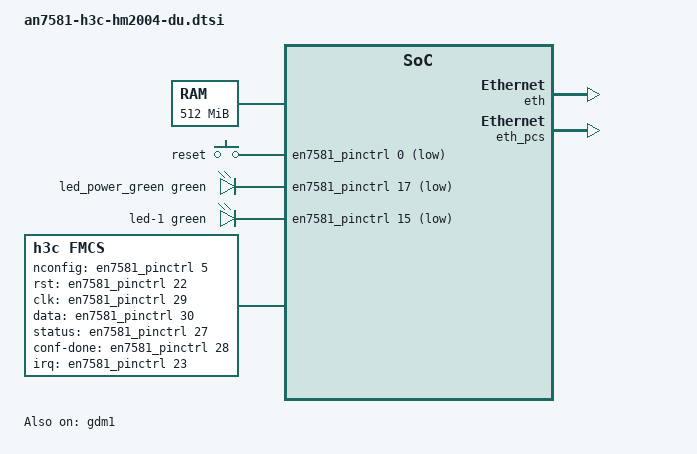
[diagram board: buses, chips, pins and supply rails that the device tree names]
// SPDX-License-Identifier: GPL-2.0-only OR MIT
/*
 * H3C HM2004-DU board support (AN7581 / EN7581).
 *
 * Hardware recovered from:
 *   - the stock U-Boot device tree (uboot-an758x:
 *     an7581-h3c-hm2004-du.dts / -u-boot.dtsi)
 *   - the vendor rootfs/FPGA DTB (fttr-port: dts/h3c-fmcs.dtsi)
 *
 * Wiring notes:
 *   - reset key  : GPIO 0  (active low)
 *   - power LED  : GPIO 17 (green, active low)
 *   - wlan LED   : GPIO 15 (green, active low)
 *   - SPI-NAND   : Winbond W25N02KV (256 MiB), bl2 + ubi layout
 *   - pinctrl    : gpio-ranges <0 13 50> (AN7581 50-pin block at pin 13)
 *
 * The FTTR M-OLT FPGA (Pango Logos PGL50H) is described by the "fmcs"
 * node below. Its register transport (R1 in fttr-port docs) still needs a
 * generic SPI master on the 0x1fa10000 controller; until that driver exists
 * the node simply fails to probe and is harmless to include.
 */

/ {
	aliases {
		label-mac-device = &gdm1;

		led-boot = &led_power_green;
		led-failsafe = &led_power_green;
		led-running = &led_power_green;
		led-upgrade = &led_power_green;

		serial0 = &uart1;
	};

	chosen {
		bootargs = "console=ttyS0,115200 earlycon";
		stdout-path = "serial0:115200n8";
	};

	memory@80000000 {
		device_type = "memory";
		reg = <0x0 0x80000000 0x0 0x20000000>;
	};

	keys {
		compatible = "gpio-keys";

		key-reset {
			label = "reset";
			linux,code = <KEY_RESTART>;
			gpios = <&en7581_pinctrl 0 GPIO_ACTIVE_LOW>;
			debounce-interval = <60>;
		};
	};

	leds {
		compatible = "gpio-leds";

		led_power_green: led-0 {
			color = <LED_COLOR_ID_GREEN>;
			function = LED_FUNCTION_POWER;
			gpios = <&en7581_pinctrl 17 GPIO_ACTIVE_LOW>;
			default-state = "keep";
		};

		led-1 {
			color = <LED_COLOR_ID_GREEN>;
			function = LED_FUNCTION_WLAN;
			gpios = <&en7581_pinctrl 15 GPIO_ACTIVE_LOW>;
			default-state = "keep";
		};
	};

	/*
	 * FMCS / FTTR M-OLT FPGA (Pango Logos PGL50H-6-FBG484).
	 *
	 * The five fpga-load-* GPIO lines are hard-coded bit positions inside the
	 * SoC GPIO block, taken verbatim from the vendor DTB / fpga_load.ko:
	 *   nCONFIG   GPIO 5   (pulsed low then high)
	 *   RST       GPIO 22
	 *   CLK       GPIO 29
	 *   DATA(DO)  GPIO 30
	 *   STATUS    GPIO 27
	 *   CONF-DONE GPIO 28
	 * The interrupt arrives through the pinctrl GPIO controller on GPIO 23.
	 *
	 * The node is enabled so it binds once the fttr-port fmcs driver (with the
	 * R1 SPI transport) is built into the kernel; without that driver it is a
	 * no-op probe deferral and does not affect boot.
	 */
	fmcs: fmcs {
		compatible = "h3c,fmcs";

		interrupt-parent = <&en7581_pinctrl>;
		interrupts = <23 IRQ_TYPE_LEVEL_HIGH>;

		nconfig-gpios   = <&en7581_pinctrl 5  GPIO_ACTIVE_HIGH>;
		rst-gpios       = <&en7581_pinctrl 22 GPIO_ACTIVE_HIGH>;
		clk-gpios       = <&en7581_pinctrl 29 GPIO_ACTIVE_HIGH>;
		data-gpios      = <&en7581_pinctrl 30 GPIO_ACTIVE_HIGH>;
		status-gpios    = <&en7581_pinctrl 27 GPIO_ACTIVE_HIGH>;
		conf-done-gpios = <&en7581_pinctrl 28 GPIO_ACTIVE_HIGH>;

		status = "okay";
	};
};

&en7581_pinctrl {
	gpio-ranges = <&en7581_pinctrl 0 13 50>;
};

&eth {
	status = "okay";
};

&eth_pcs {
	status = "okay";
};

&gdm1 {
	status = "okay";
};
